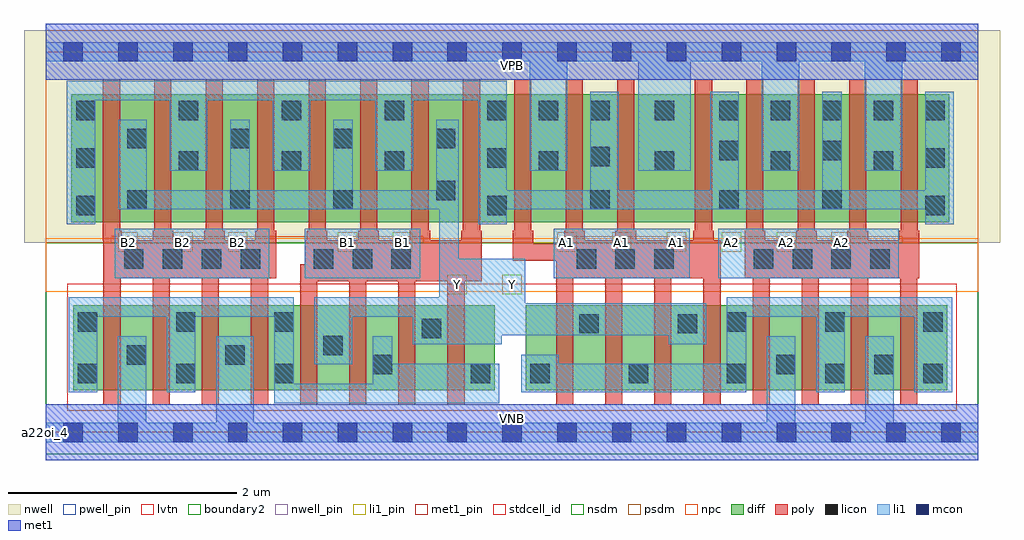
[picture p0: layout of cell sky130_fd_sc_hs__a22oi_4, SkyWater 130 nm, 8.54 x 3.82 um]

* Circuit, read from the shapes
.subckt sky130_fd_sc_hs__a22oi_4 A1 A2 B1 B2 VGND VNB VPB VPWR Y
XM1 VGND B2 n1 VNB sky130_fd_pr__nfet_01v8_lvt w=0.74 l=0.15 m=4
XM2 Y B1 n1 VNB sky130_fd_pr__nfet_01v8_lvt w=0.74 l=0.15 m=4
XM3 Y A1 n2 VNB sky130_fd_pr__nfet_01v8_lvt w=0.74 l=0.15 m=4
XM4 VGND A2 n2 VNB sky130_fd_pr__nfet_01v8_lvt w=0.74 l=0.15 m=4
XM5 Y B2 n3 VPB sky130_fd_pr__pfet_01v8 w=1.12 l=0.15 m=4
XM6 Y B1 n3 VPB sky130_fd_pr__pfet_01v8 w=1.12 l=0.15 m=4
XM7 VPWR A1 n3 VPB sky130_fd_pr__pfet_01v8 w=1.12 l=0.15 m=4
XM8 VPWR A2 n3 VPB sky130_fd_pr__pfet_01v8 w=1.12 l=0.15 m=4
.ends

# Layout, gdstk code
import gdstk
lib = gdstk.Library(unit=1e-6, precision=1e-09)
def R(c, l, rs):  # rectangles x0, y0, x1, y1
    for r in rs: c.add(gdstk.rectangle(r[:2], r[2:], *l))
def A(c, l, x, y, w, h, nx, ny, dx, dy):  # array of equal rectangles
    R(c, l, [(x+i*dx, y+j*dy, x+i*dx+w, y+j*dy+h) for i in range(nx) for j in range(ny)])
def P(c, l, *ps):  # polygons
    for p in ps: c.add(gdstk.Polygon(p, *l))
nwell_pin = (64, 16)
nwell = (64, 20)
diff = (65, 20)
poly = (66, 20)
licon = (66, 44)
li1_pin = (67, 16)
li1 = (67, 20)
mcon = (67, 44)
met1_pin = (68, 16)
met1 = (68, 20)
stdcell_id = (81, 4)
nsdm = (93, 44)
psdm = (94, 20)
npc = (95, 20)
pwell_pin = (122, 16)
lvtn = (125, 44)
boundary2 = (236, 0)

sky130_fd_sc_hs__a22oi_4 = lib.new_cell('sky130_fd_sc_hs__a22oi_4')
R(sky130_fd_sc_hs__a22oi_4, nwell_pin, [(0,3.085,8.16,3.33)])
R(sky130_fd_sc_hs__a22oi_4, nwell, [(-0.19,1.66,8.35,3.52)])
R(sky130_fd_sc_hs__a22oi_4, diff, [(0.24,0.37,3.93,1.11), (4.2,0.37,7.89,1.11), (0.225,1.84,7.905,2.96)])
P(sky130_fd_sc_hs__a22oi_4, poly, [(2.015,1.765),(2,1.765),(2,3.09),(1.85,3.09),(1.85,1.765),(1.835,1.765),(1.835,1.68),(1.565,1.68),(1.565,1.765),(1.55,1.765),(1.55,3.09),(1.4,3.09),(1.4,1.765),(1.385,1.765),(1.385,1.68),(1.115,1.68),(1.115,1.765),(1.1,1.765),(1.1,3.09),(0.95,3.09),(0.95,1.765),(0.935,1.765),(0.935,1.68),(0.665,1.68),(0.665,1.765),(0.65,1.765),(0.65,3.09),(0.5,3.09),(0.5,1.68),(0.505,1.68),(0.505,0.24),(0.655,0.24),(0.655,1.35),(0.935,1.35),(0.935,0.24),(1.085,0.24),(1.085,1.35),(1.365,1.35),(1.365,0.24),(1.515,0.24),(1.515,1.35),(1.795,1.35),(1.795,0.24),(1.945,0.24),(1.945,1.35),(2.015,1.35)],
  [(3.815,1.765),(3.8,1.765),(3.8,3.09),(3.65,3.09),(3.65,1.765),(3.635,1.765),(3.635,1.68),(3.365,1.68),(3.365,1.765),(3.35,1.765),(3.35,3.09),(3.2,3.09),(3.2,1.765),(3.185,1.765),(3.185,1.68),(2.915,1.68),(2.915,1.765),(2.9,1.765),(2.9,3.09),(2.75,3.09),(2.75,1.765),(2.735,1.765),(2.735,1.68),(2.465,1.68),(2.465,1.765),(2.45,1.765),(2.45,3.09),(2.3,3.09),(2.3,1.765),(2.285,1.765),(2.285,1.68),(2.265,1.68),(2.265,1.47),(2.225,1.47),(2.225,0.24),(2.375,0.24),(2.375,1.32),(2.655,1.32),(2.655,0.24),(2.805,0.24),(2.805,1.32),(3.085,1.32),(3.085,0.24),(3.235,0.24),(3.235,1.32),(3.515,1.32),(3.515,0.24),(3.665,0.24),(3.665,1.32),(3.815,1.32)],
  [(5.905,1.68),(5.845,1.68),(5.845,1.765),(5.83,1.765),(5.83,3.09),(5.68,3.09),(5.68,1.765),(5.665,1.765),(5.665,1.68),(5.165,1.68),(5.165,1.765),(5.15,1.765),(5.15,3.09),(5,3.09),(5,1.765),(4.985,1.765),(4.985,1.68),(4.715,1.68),(4.715,1.765),(4.7,1.765),(4.7,3.09),(4.55,3.09),(4.55,1.765),(4.535,1.765),(4.535,1.65),(4.265,1.65),(4.265,1.765),(4.25,1.765),(4.25,3.09),(4.1,3.09),(4.1,1.765),(4.085,1.765),(4.085,1.5),(4.465,1.5),(4.465,0.24),(4.615,0.24),(4.615,1.35),(4.895,1.35),(4.895,0.24),(5.045,0.24),(5.045,1.35),(5.325,1.35),(5.325,0.24),(5.475,0.24),(5.475,1.35),(5.755,1.35),(5.755,0.24),(5.905,0.24)],
  [(7.645,1.765),(7.63,1.765),(7.63,3.09),(7.48,3.09),(7.48,1.765),(7.465,1.765),(7.465,1.68),(7.195,1.68),(7.195,1.765),(7.18,1.765),(7.18,3.09),(7.03,3.09),(7.03,1.765),(7.015,1.765),(7.015,1.68),(6.745,1.68),(6.745,1.765),(6.73,1.765),(6.73,3.09),(6.58,3.09),(6.58,1.765),(6.565,1.765),(6.565,1.68),(6.295,1.68),(6.295,1.765),(6.28,1.765),(6.28,3.09),(6.13,3.09),(6.13,1.765),(6.115,1.765),(6.115,1.35),(6.185,1.35),(6.185,0.24),(6.335,0.24),(6.335,1.35),(6.615,1.35),(6.615,0.24),(6.765,0.24),(6.765,1.35),(7.045,1.35),(7.045,0.24),(7.195,0.24),(7.195,1.35),(7.475,1.35),(7.475,0.24),(7.625,0.24),(7.625,1.35),(7.645,1.35)])
A(sky130_fd_sc_hs__a22oi_4, licon, 0.28, 0.43, 0.17, 0.17, 3, 2, 0.86, 0.45)
A(sky130_fd_sc_hs__a22oi_4, licon, 4.24, 0.43, 0.17, 0.17, 5, 1, 0.86, 0)
A(sky130_fd_sc_hs__a22oi_4, licon, 5.96, 0.88, 0.17, 0.17, 3, 1, 0.86, 0)
A(sky130_fd_sc_hs__a22oi_4, licon, 0.685, 1.43, 0.17, 0.17, 4, 1, 0.34, 0)
A(sky130_fd_sc_hs__a22oi_4, licon, 2.345, 1.43, 0.17, 0.17, 3, 1, 0.34, 0)
A(sky130_fd_sc_hs__a22oi_4, licon, 4.645, 1.43, 0.17, 0.17, 3, 1, 0.34, 0)
A(sky130_fd_sc_hs__a22oi_4, licon, 6.195, 1.43, 0.17, 0.17, 4, 1, 0.34, 0)
A(sky130_fd_sc_hs__a22oi_4, licon, 0.715, 1.95, 0.17, 0.17, 3, 1, 0.9, 0)
A(sky130_fd_sc_hs__a22oi_4, licon, 1.165, 2.29, 0.17, 0.17, 3, 1, 0.9, 0)
A(sky130_fd_sc_hs__a22oi_4, licon, 4.315, 2.29, 0.17, 0.17, 3, 1, 1.015, 0)
A(sky130_fd_sc_hs__a22oi_4, licon, 0.715, 2.485, 0.17, 0.17, 4, 1, 0.9, 0)
A(sky130_fd_sc_hs__a22oi_4, licon, 0.265, 2.73, 0.17, 0.17, 5, 1, 0.9, 0)
A(sky130_fd_sc_hs__a22oi_4, licon, 4.765, 2.73, 0.17, 0.17, 3, 1, 0.565, 0)
A(sky130_fd_sc_hs__a22oi_4, licon, 6.345, 2.73, 0.17, 0.17, 4, 1, 0.45, 0)
R(sky130_fd_sc_hs__a22oi_4, licon, [(3.72,0.43,3.89,0.6), (2.86,0.51,3.03,0.68), (6.39,0.51,6.56,0.68), (7.25,0.51,7.42,0.68), (0.71,0.59,0.88,0.76), (1.57,0.59,1.74,0.76), (2.43,0.675,2.6,0.845), (3.29,0.825,3.46,0.995), (4.67,0.865,4.84,1.035), (5.53,0.865,5.7,1.035), (0.265,1.9,0.435,2.07), (3.865,1.9,4.035,2.07), (7.695,1.9,7.865,2.07), (4.765,1.95,4.935,2.12), (5.895,1.95,6.065,2.12), (6.795,1.95,6.965,2.12), (3.415,2.03,3.585,2.2), (7.245,2.29,7.415,2.46), (0.265,2.315,0.435,2.485), (3.865,2.315,4.035,2.485), (7.695,2.315,7.865,2.485), (4.765,2.33,4.935,2.5), (5.895,2.38,6.065,2.55), (6.795,2.38,6.965,2.55), (4.315,2.73,4.485,2.9)])
A(sky130_fd_sc_hs__a22oi_4, li1_pin, 0.635, 1.58, 0.17, 0.17, 3, 1, 0.48, 0)
A(sky130_fd_sc_hs__a22oi_4, li1_pin, 4.475, 1.58, 0.17, 0.17, 6, 1, 0.48, 0)
R(sky130_fd_sc_hs__a22oi_4, li1_pin, [(3.515,1.21,3.685,1.38), (3.995,1.21,4.165,1.38), (2.555,1.58,2.725,1.75), (3.035,1.58,3.205,1.75)])
R(sky130_fd_sc_hs__a22oi_4, li1, [(0.605,1.35,1.955,1.78), (2.265,1.35,3.275,1.78), (4.445,1.35,5.635,1.78), (5.885,1.35,7.465,1.78)])
P(sky130_fd_sc_hs__a22oi_4, li1, [(7.165,2.29),(7.165,3.245),(6.595,3.245),(6.595,2.29),(6.265,2.29),(6.265,3.245),(5.645,3.245),(5.645,2.29),(5.185,2.29),(5.185,3.245),(4.565,3.245),(4.565,2.29),(4.235,2.29),(4.235,3.245),(0,3.245),(0,3.415),(8.16,3.415),(8.16,3.245),(7.495,3.245),(7.495,2.29)],
  [(7.17,0.085),(7.17,0.84),(7.42,0.84),(7.42,0.085),(8.16,0.085),(8.16,-0.085),(0,-0.085),(0,0.085),(0.63,0.085),(0.63,0.84),(0.88,0.84),(0.88,0.085),(1.49,0.085),(1.49,0.84),(1.82,0.84),(1.82,0.085),(6.31,0.085),(6.31,0.84),(6.56,0.84),(6.56,0.085)],
  [(4.765,2.12),(4.765,2.98),(5.015,2.98),(5.015,2.12),(5.815,2.12),(5.815,2.98),(6.065,2.98),(6.065,2.12),(6.795,2.12),(6.795,2.98),(6.965,2.98),(6.965,2.12),(7.695,2.12),(7.695,2.98),(7.945,2.98),(7.945,1.82),(7.695,1.82),(7.695,1.95),(4.035,1.95),(4.035,1.82),(3.785,1.82),(3.785,2.905),(3.215,2.905),(3.215,2.29),(2.885,2.29),(2.885,2.905),(2.315,2.905),(2.315,2.29),(1.985,2.29),(1.985,2.905),(1.415,2.905),(1.415,2.29),(1.085,2.29),(1.085,2.905),(0.435,2.905),(0.435,1.82),(0.185,1.82),(0.185,3.075),(4.035,3.075),(4.035,2.12)],
  [(1.615,2.12),(1.615,2.735),(1.785,2.735),(1.785,2.12),(2.515,2.12),(2.515,2.735),(2.685,2.735),(2.685,2.12),(3.415,2.12),(3.415,2.735),(3.615,2.735),(3.615,1.52),(4.195,1.52),(4.195,1.13),(5.78,1.13),(5.78,0.77),(5.45,0.77),(5.45,0.85),(3.99,0.85),(3.99,0.77),(3.21,0.77),(3.21,1.01),(2.68,1.01),(2.68,0.595),(2.35,0.595),(2.35,1.18),(3.445,1.18),(3.445,1.95),(0.635,1.95),(0.635,2.735),(0.885,2.735),(0.885,2.12)],
  [(2.86,0.425),(2.86,0.84),(3.03,0.84),(3.03,0.6),(3.97,0.6),(3.97,0.255),(2,0.255),(2,1.01),(1.31,1.01),(1.31,0.35),(1.06,0.35),(1.06,1.01),(0.45,1.01),(0.45,0.35),(0.2,0.35),(0.2,1.18),(2.17,1.18),(2.17,0.425)],
  [(6.74,0.35),(6.74,1.01),(6.13,1.01),(6.13,0.35),(4.16,0.35),(4.16,0.68),(4.49,0.68),(4.49,0.6),(5.96,0.6),(5.96,1.18),(7.93,1.18),(7.93,0.35),(7.6,0.35),(7.6,1.01),(6.99,1.01),(6.99,0.35)])
A(sky130_fd_sc_hs__a22oi_4, mcon, 0.155, -0.085, 0.17, 0.17, 17, 2, 0.48, 3.33)
R(sky130_fd_sc_hs__a22oi_4, met1_pin, [(0,0,8.16,0.245), (0,3.085,8.16,3.33)])
R(sky130_fd_sc_hs__a22oi_4, met1, [(0,-0.245,8.16,0.245), (0,3.085,8.16,3.575)])
R(sky130_fd_sc_hs__a22oi_4, stdcell_id, [(0,0,8.16,3.33)])
R(sky130_fd_sc_hs__a22oi_4, nsdm, [(0,-0.19,8.16,1.66)])
P(sky130_fd_sc_hs__a22oi_4, psdm, [(8.16,3.52),(0,3.52),(0,1.66),(0.575,1.66),(0.575,1.71),(3.305,1.71),(3.305,1.66),(4.535,1.66),(4.535,1.71),(5.605,1.71),(5.605,1.66),(6.085,1.66),(6.085,1.71),(7.495,1.71),(7.495,1.66),(8.16,1.66)])
R(sky130_fd_sc_hs__a22oi_4, npc, [(0,1.23,8.16,1.7)])
R(sky130_fd_sc_hs__a22oi_4, pwell_pin, [(0,0,8.16,0.245)])
R(sky130_fd_sc_hs__a22oi_4, lvtn, [(0.19,0.19,7.97,1.3)])
R(sky130_fd_sc_hs__a22oi_4, boundary2, [(0,0,8.16,3.33)])
sky130_fd_sc_hs__a22oi_4.add(gdstk.Label('a22oi_4', (0,0), layer=83, texttype=44))
sky130_fd_sc_hs__a22oi_4.add(gdstk.Label('VNB', (4.08,0.123), layer=64, texttype=59))
sky130_fd_sc_hs__a22oi_4.add(gdstk.Label('VPB', (4.08,3.208), layer=64, texttype=5))
sky130_fd_sc_hs__a22oi_4.add(gdstk.Label('VPWR', (4.08,3.208), layer=68, texttype=5))
sky130_fd_sc_hs__a22oi_4.add(gdstk.Label('VGND', (4.08,0.123), layer=68, texttype=5))
sky130_fd_sc_hs__a22oi_4.add(gdstk.Label('Y', (3.6,1.295), layer=67, texttype=5))
sky130_fd_sc_hs__a22oi_4.add(gdstk.Label('Y', (4.08,1.295), layer=67, texttype=5))
sky130_fd_sc_hs__a22oi_4.add(gdstk.Label('B2', (0.72,1.665), layer=67, texttype=5))
sky130_fd_sc_hs__a22oi_4.add(gdstk.Label('B2', (1.2,1.665), layer=67, texttype=5))
sky130_fd_sc_hs__a22oi_4.add(gdstk.Label('B2', (1.68,1.665), layer=67, texttype=5))
sky130_fd_sc_hs__a22oi_4.add(gdstk.Label('B1', (2.64,1.665), layer=67, texttype=5))
sky130_fd_sc_hs__a22oi_4.add(gdstk.Label('B1', (3.12,1.665), layer=67, texttype=5))
sky130_fd_sc_hs__a22oi_4.add(gdstk.Label('A2', (6,1.665), layer=67, texttype=5))
sky130_fd_sc_hs__a22oi_4.add(gdstk.Label('A2', (6.48,1.665), layer=67, texttype=5))
sky130_fd_sc_hs__a22oi_4.add(gdstk.Label('A2', (6.96,1.665), layer=67, texttype=5))
sky130_fd_sc_hs__a22oi_4.add(gdstk.Label('A1', (4.56,1.665), layer=67, texttype=5))
sky130_fd_sc_hs__a22oi_4.add(gdstk.Label('A1', (5.04,1.665), layer=67, texttype=5))
sky130_fd_sc_hs__a22oi_4.add(gdstk.Label('A1', (5.52,1.665), layer=67, texttype=5))

lib.write_gds('sky130_fd_sc_hs__a22oi_4.gds')
